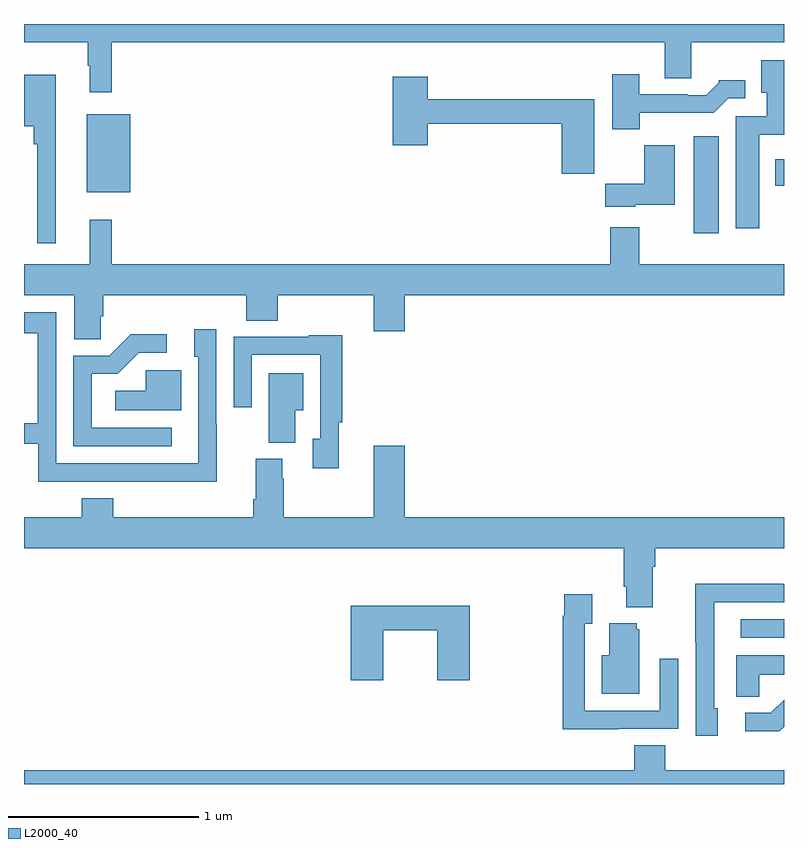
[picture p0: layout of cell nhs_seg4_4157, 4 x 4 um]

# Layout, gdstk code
import gdstk
lib = gdstk.Library(unit=1e-6, precision=1e-09)
def R(c, l, rs):  # rectangles x0, y0, x1, y1
    for r in rs: c.add(gdstk.rectangle(r[:2], r[2:], *l))
def P(c, l, *ps):  # polygons
    for p in ps: c.add(gdstk.Polygon(p, *l))
L2000_40 = (2000, 40)

nhs_seg4_4157 = lib.new_cell('nhs_seg4_4157')
R(nhs_seg4_4157, L2000_40, [(334.773,809.67,335,809.766), (334.526,811.8,334.657,812.308), (331.331,812.015,331.558,812.425), (334.955,812.048,335,812.188)])
P(nhs_seg4_4157, L2000_40, [(331.463,812.804),(334.373,812.804),(334.373,812.614),(334.513,812.614),(334.513,812.804),(335,812.804),(335,812.9),(331,812.9),(331,812.804),(331.335,812.804),(331.335,812.681),(331.346,812.681),(331.346,812.541),(331.463,812.541)],
  [(334.87,812.318),(335,812.318),(335,812.71),(334.88,812.71),(334.88,812.538),(334.908,812.538),(334.908,812.415),(334.745,812.415),(334.745,811.824),(334.87,811.824)],
  [(334.24,812.432),(334.631,812.432),(334.707,812.508),(334.795,812.508),(334.795,812.605),(334.656,812.605),(334.656,812.59),(334.592,812.526),(334.493,812.526),(334.493,812.529),(334.237,812.529),(334.237,812.635),(334.097,812.635),(334.097,812.345),(334.24,812.345)],
  [(331.168,812.632),(331,812.632),(331,812.363),(331.051,812.363),(331.051,812.267),(331.071,812.267),(331.071,811.746),(331.168,811.746)],
  [(334,812.503),(333.125,812.503),(333.125,812.623),(332.942,812.623),(332.942,812.262),(333.125,812.262),(333.125,812.374),(333.83,812.374),(333.83,812.113),(334,812.113)],
  [(334.218,811.949),(334.426,811.949),(334.426,812.263),(334.264,812.263),(334.264,812.059),(334.06,812.059),(334.06,811.937),(334.218,811.937)],
  [(331.404,811.363),(331.418,811.363),(331.418,811.472),(332.171,811.472),(332.171,811.339),(332.336,811.339),(332.336,811.472),(332.84,811.472),(332.84,811.284),(333.004,811.284),(333.004,811.472),(335,811.472),(335,811.636),(334.237,811.636),(334.237,811.831),(334.085,811.831),(334.085,811.636),(331.463,811.636),(331.463,811.87),(331.346,811.87),(331.346,811.636),(331,811.636),(331,811.472),(331.265,811.472),(331.265,811.24),(331.404,811.24)],
  [(332.015,810.794),(332.013,810.794),(332.013,811.294),(331.895,811.294),(331.895,811.149),(331.917,811.149),(331.917,810.588),(331.17,810.588),(331.17,811.383),(331,811.383),(331,811.272),(331.073,811.272),(331.073,810.799),(331,810.799),(331,810.69),(331.074,810.69),(331.074,810.492),(331.552,810.492),(331.552,810.491),(332.015,810.491)],
  [(331.777,810.774),(331.356,810.774),(331.356,811.059),(331.494,811.059),(331.605,811.17),(331.75,811.17),(331.75,811.268),(331.562,811.268),(331.449,811.155),(331.26,811.155),(331.26,810.678),(331.777,810.678)],
  [(332.657,810.805),(332.675,810.805),(332.675,811.261),(332.499,811.261),(332.499,811.254),(332.103,811.254),(332.103,810.882),(332.199,810.882),(332.199,811.158),(332.559,811.158),(332.559,810.717),(332.519,810.717),(332.519,810.561),(332.657,810.561)],
  [(331.828,811.077),(331.641,811.077),(331.641,810.97),(331.479,810.97),(331.479,810.866),(331.828,810.866)],
  [(332.428,810.866),(332.47,810.866),(332.47,811.063),(332.288,811.063),(332.288,810.697),(332.428,810.697)],
  [(334.309,810.044),(334.322,810.044),(334.322,810.14),(335,810.14),(335,810.304),(333.004,810.304),(333.004,810.679),(332.84,810.679),(332.84,810.304),(332.367,810.304),(332.367,810.506),(332.359,810.506),(332.359,810.612),(332.219,810.612),(332.219,810.4),(332.207,810.4),(332.207,810.304),(331.469,810.304),(331.469,810.403),(331.304,810.403),(331.304,810.304),(331,810.304),(331,810.14),(334.157,810.14),(334.157,809.938),(334.169,809.938),(334.169,809.831),(334.309,809.831)],
  [(334.651,809.298),(334.632,809.298),(334.632,809.856),(335,809.856),(335,809.952),(334.997,809.952),(334.997,809.954),(334.534,809.954),(334.534,809.647),(334.536,809.647),(334.536,809.154),(334.651,809.154)],
  [(334.127,809.19),(334.443,809.19),(334.443,809.56),(334.347,809.56),(334.347,809.286),(333.951,809.286),(333.951,809.743),(333.991,809.743),(333.991,809.899),(333.843,809.899),(333.843,809.786),(333.835,809.786),(333.835,809.189),(334.127,809.189)],
  [(332.89,809.71),(333.176,809.71),(333.176,809.445),(333.347,809.445),(333.347,809.839),(332.72,809.839),(332.72,809.445),(332.89,809.445)],
  [(334.237,809.715),(334.226,809.715),(334.226,809.746),(334.079,809.746),(334.079,809.578),(334.04,809.578),(334.04,809.375),(334.237,809.375)],
  [(334.869,809.474),(335,809.474),(335,809.578),(334.748,809.578),(334.748,809.359),(334.869,809.359)],
  [(335,809.202),(335,809.343),(334.931,809.274),(334.797,809.274),(334.797,809.177),(334.975,809.177)],
  [(335,808.972),(334.376,808.972),(334.376,809.105),(334.211,809.105),(334.211,808.972),(331,808.972),(331,808.9),(335,808.9)])

lib.write_gds('nhs_seg4_4157.gds')
